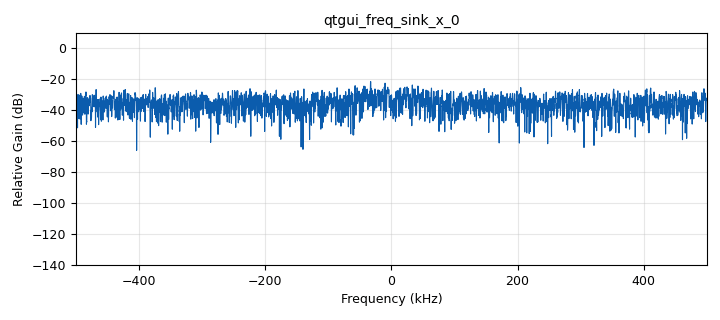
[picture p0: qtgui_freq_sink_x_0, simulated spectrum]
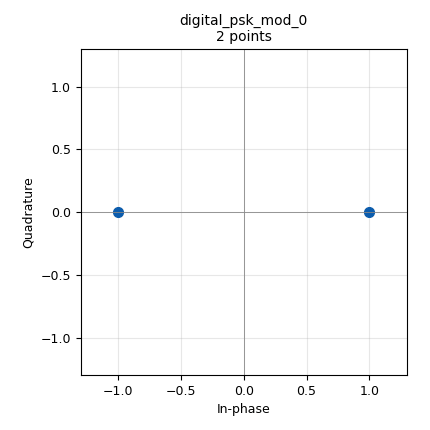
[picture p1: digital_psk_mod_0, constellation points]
<?xml version='1.0' encoding='utf-8'?>
<?grc format='1' created='3.7.10'?>
<flow_graph>
<block>
<key>options</key>
<param><key>id</key><value>eigenvalue_detector</value></param>
<param><key>category</key><value>Custom</value></param>
<param><key>generate_options</key><value>qt_gui</value></param>
</block>
<block>
<key>variable_qtgui_range</key>
<param><key>id</key><value>noise_amp</value></param>
<param><key>value</key><value>2.5</value></param>
<param><key>label</key><value>Noise Amplitude</value></param>
<param><key>orient</key><value>Qt.Horizontal</value></param>
<param><key>start</key><value>0</value></param>
<param><key>step</key><value>0.1</value></param>
<param><key>stop</key><value>10</value></param>
</block>
<block>
<key>variable</key>
<param><key>id</key><value>samp_rate</value></param>
<param><key>value</key><value>1e6</value></param>
</block>
<block>
<key>analog_noise_source_x</key>
<param><key>id</key><value>analog_noise_source_x_0</value></param>
<param><key>amp</key><value>noise_amp</value></param>
<param><key>noise_type</key><value>analog.GR_GAUSSIAN</value></param>
<param><key>type</key><value>complex</value></param>
<param><key>seed</key><value>1</value></param>
</block>
<block>
<key>analog_random_source_x</key>
<param><key>id</key><value>analog_random_source_x_0</value></param>
<param><key>max</key><value>255</value></param>
<param><key>min</key><value>0</value></param>
<param><key>num_samps</key><value>1000</value></param>
<param><key>type</key><value>byte</value></param>
<param><key>repeat</key><value>True</value></param>
</block>
<block>
<key>blocks_add_xx</key>
<param><key>id</key><value>blocks_add_xx_0</value></param>
<param><key>type</key><value>complex</value></param>
</block>
<block>
<key>blocks_int_to_float</key>
<param><key>id</key><value>blocks_int_to_float_0</value></param>
<param><key>scale</key><value>1</value></param>
</block>
<block>
<key>blocks_throttle</key>
<param><key>id</key><value>blocks_throttle_0</value></param>
<param><key>samples_per_second</key><value>samp_rate</value></param>
<param><key>type</key><value>complex</value></param>
</block>
<block>
<key>digital_psk_mod</key>
<param><key>id</key><value>digital_psk_mod_0</value></param>
<param><key>differential</key><value>True</value></param>
<param><key>excess_bw</key><value>0.35</value></param>
<param><key>mod_code</key><value>"gray"</value></param>
<param><key>constellation_points</key><value>2</value></param>
<param><key>samples_per_symbol</key><value>8</value></param>
</block>
<block>
<key>phasma_eigenvalue_signal_detector</key>
<param><key>id</key><value>phasma_eigenvalue_signal_detector_0</value></param>
<param><key>algo</key><value>1</value></param>
<param><key>pfa</key><value>0.1</value></param>
<param><key>samples_num</key><value>1024</value></param>
<param><key>oversampling_factor</key><value>1</value></param>
<param><key>smoothing_factor</key><value>10</value></param>
</block>
<block>
<key>qtgui_freq_sink_x</key>
<param><key>id</key><value>qtgui_freq_sink_x_0</value></param>
<param><key>bw</key><value>samp_rate</value></param>
<param><key>fc</key><value>0</value></param>
<param><key>fftsize</key><value>4096</value></param>
<param><key>showports</key><value>True</value></param>
<param><key>type</key><value>complex</value></param>
<param><key>wintype</key><value>firdes.WIN_BLACKMAN_hARRIS</value></param>
</block>
<block>
<key>qtgui_histogram_sink_x</key>
<param><key>id</key><value>qtgui_histogram_sink_x_0</value></param>
<param><key>xmax</key><value>2</value></param>
<param><key>xmin</key><value>0</value></param>
<param><key>bins</key><value>2</value></param>
<param><key>size</key><value>1000</value></param>
<param><key>type</key><value>float</value></param>
<param><key>update_time</key><value>0.01</value></param>
</block>
<connection><source_block_id>analog_noise_source_x_0</source_block_id><sink_block_id>blocks_add_xx_0</sink_block_id><source_key>0</source_key><sink_key>1</sink_key></connection>
<connection><source_block_id>analog_random_source_x_0</source_block_id><sink_block_id>digital_psk_mod_0</sink_block_id><source_key>0</source_key><sink_key>0</sink_key></connection>
<connection><source_block_id>blocks_add_xx_0</source_block_id><sink_block_id>blocks_throttle_0</sink_block_id><source_key>0</source_key><sink_key>0</sink_key></connection>
<connection><source_block_id>blocks_int_to_float_0</source_block_id><sink_block_id>qtgui_histogram_sink_x_0</sink_block_id><source_key>0</source_key><sink_key>0</sink_key></connection>
<connection><source_block_id>blocks_throttle_0</source_block_id><sink_block_id>phasma_eigenvalue_signal_detector_0</sink_block_id><source_key>0</source_key><sink_key>0</sink_key></connection>
<connection><source_block_id>blocks_throttle_0</source_block_id><sink_block_id>qtgui_freq_sink_x_0</sink_block_id><source_key>0</source_key><sink_key>0</sink_key></connection>
<connection><source_block_id>digital_psk_mod_0</source_block_id><sink_block_id>blocks_add_xx_0</sink_block_id><source_key>0</source_key><sink_key>0</sink_key></connection>
<connection><source_block_id>phasma_eigenvalue_signal_detector_0</source_block_id><sink_block_id>blocks_int_to_float_0</sink_block_id><source_key>0</source_key><sink_key>0</sink_key></connection>
</flow_graph>
